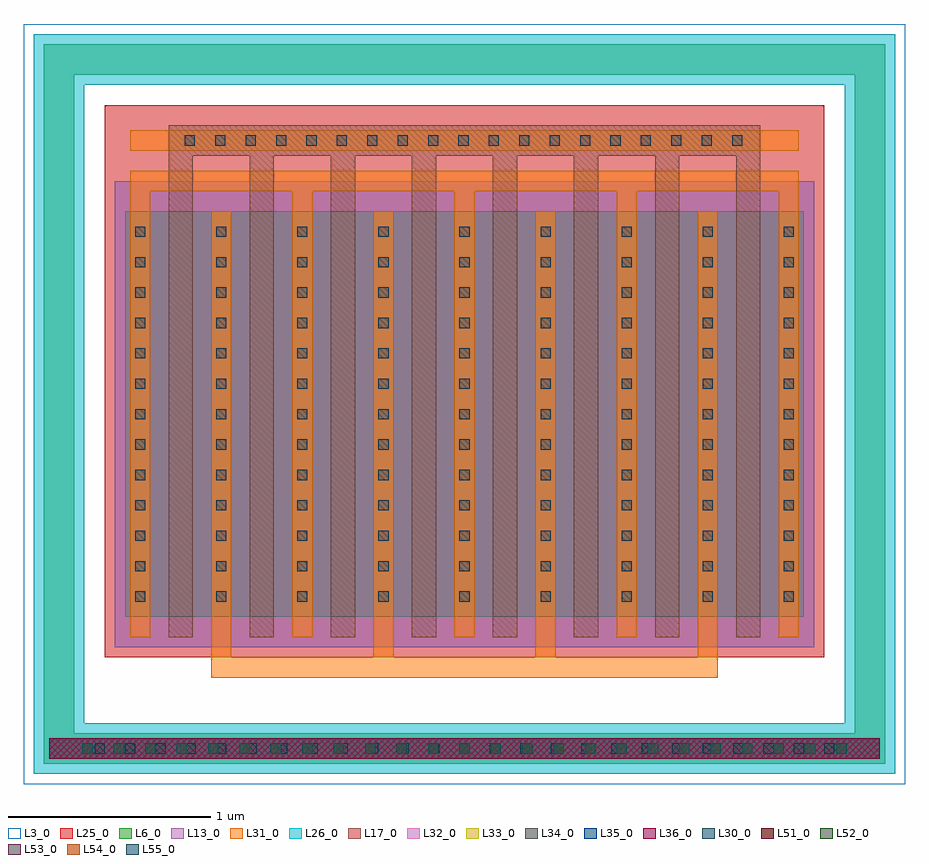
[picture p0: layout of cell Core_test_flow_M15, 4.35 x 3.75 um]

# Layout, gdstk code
import gdstk
lib = gdstk.Library(unit=1e-6, precision=1e-09)
def R(c, l, rs):  # rectangles x0, y0, x1, y1
    for r in rs: c.add(gdstk.rectangle(r[:2], r[2:], *l))
def A(c, l, x, y, w, h, nx, ny, dx, dy):  # array of equal rectangles
    R(c, l, [(x+i*dx, y+j*dy, x+i*dx+w, y+j*dy+h) for i in range(nx) for j in range(ny)])
L3_0 = (3, 0)
L6_0 = (6, 0)
L13_0 = (13, 0)
L17_0 = (17, 0)
L25_0 = (25, 0)
L26_0 = (26, 0)
L30_0 = (30, 0)
L31_0 = (31, 0)
L32_0 = (32, 0)
L33_0 = (33, 0)
L34_0 = (34, 0)
L35_0 = (35, 0)
L36_0 = (36, 0)
L51_0 = (51, 0)
L52_0 = (52, 0)
L53_0 = (53, 0)
L54_0 = (54, 0)
L55_0 = (55, 0)

core_test_flow_m15 = lib.new_cell('Core_test_flow_M15')
R(core_test_flow_m15, L3_0, [(-0.575,-0.775,3.775,2.975), (-0.125,-0.1,3.325,2.2)])
R(core_test_flow_m15, L6_0, [(-0.475,-0.675,-0.325,-0.525), (-0.325,-0.675,3.525,-0.525), (3.525,-0.675,3.675,-0.525), (-0.475,-0.525,-0.325,2.725), (3.525,-0.525,3.675,2.725), (-0.075,0.05,3.275,2.05), (-0.475,2.725,-0.325,2.875), (-0.325,2.725,3.525,2.875), (3.525,2.725,3.675,2.875)])
R(core_test_flow_m15, L13_0, [(-0.125,-0.1,3.325,2.2)])
A(core_test_flow_m15, L17_0, 0.14, -0.05, 0.12, 2.2, 8, 1, 0.4, 0)
A(core_test_flow_m15, L17_0, 0.14, 2.05, 0.12, 0.3, 8, 1, 0.4, 0)
R(core_test_flow_m15, L17_0, [(0.14,2.325,3.06,2.475)])
R(core_test_flow_m15, L25_0, [(-0.175,-0.15,3.375,2.575)])
R(core_test_flow_m15, L26_0, [(-0.525,-0.725,-0.275,-0.475), (-0.325,-0.725,3.525,-0.475), (3.475,-0.725,3.725,-0.475), (-0.525,-0.525,-0.275,2.725), (3.475,-0.525,3.725,2.725), (-0.525,2.675,-0.275,2.925), (-0.325,2.675,3.525,2.925), (3.475,2.675,3.725,2.925)])
A(core_test_flow_m15, L30_0, -0.225, -0.625, 0.05, 0.05, 25, 1, 0.15, 0)
A(core_test_flow_m15, L30_0, -0.025, 0.125, 0.05, 0.05, 9, 13, 0.4, 0.15)
A(core_test_flow_m15, L30_0, 0.22, 2.375, 0.05, 0.05, 19, 1, 0.15, 0)
A(core_test_flow_m15, L31_0, 0.35, -0.15, 0.1, 0.1, 4, 1, 0.8, 0)
A(core_test_flow_m15, L31_0, -0.05, -0.05, 0.1, 2.1, 9, 1, 0.4, 0)
A(core_test_flow_m15, L31_0, -0.05, 0.05, 0.1, 2, 9, 1, 0.4, 0)
A(core_test_flow_m15, L31_0, -0.05, 2.05, 0.1, 0.1, 5, 1, 0.8, 0)
R(core_test_flow_m15, L31_0, [(-0.45,-0.65,-0.35,-0.55), (-0.35,-0.65,-0.325,-0.55), (-0.325,-0.65,3.525,-0.55), (3.525,-0.65,3.55,-0.55), (3.55,-0.65,3.65,-0.55), (0.35,-0.25,2.85,-0.15), (-0.05,2.15,3.25,2.25), (-0.05,2.35,3.25,2.45), (0.14,2.35,3.06,2.45)])
R(core_test_flow_m15, L32_0, [(-0.45,-0.65,-0.35,-0.55), (-0.35,-0.65,-0.325,-0.55), (-0.325,-0.65,3.525,-0.55), (3.525,-0.65,3.55,-0.55), (3.55,-0.65,3.65,-0.55)])
R(core_test_flow_m15, L33_0, [(-0.45,-0.65,-0.35,-0.55), (-0.35,-0.65,-0.325,-0.55), (-0.325,-0.65,3.525,-0.55), (3.525,-0.65,3.55,-0.55), (3.55,-0.65,3.65,-0.55)])
R(core_test_flow_m15, L34_0, [(-0.45,-0.65,-0.35,-0.55), (-0.35,-0.65,-0.325,-0.55), (-0.325,-0.65,3.525,-0.55), (3.525,-0.65,3.55,-0.55), (3.55,-0.65,3.65,-0.55)])
R(core_test_flow_m15, L35_0, [(-0.45,-0.65,-0.35,-0.55), (-0.35,-0.65,-0.325,-0.55), (-0.325,-0.65,3.525,-0.55), (3.525,-0.65,3.55,-0.55), (3.55,-0.65,3.65,-0.55)])
R(core_test_flow_m15, L36_0, [(-0.45,-0.65,-0.35,-0.55), (-0.35,-0.65,-0.325,-0.55), (-0.325,-0.65,3.525,-0.55), (3.525,-0.65,3.55,-0.55), (3.55,-0.65,3.65,-0.55)])
A(core_test_flow_m15, L51_0, -0.285, -0.625, 0.05, 0.05, 25, 1, 0.155, 0)
A(core_test_flow_m15, L52_0, -0.285, -0.625, 0.05, 0.05, 25, 1, 0.155, 0)
A(core_test_flow_m15, L53_0, -0.285, -0.625, 0.05, 0.05, 25, 1, 0.155, 0)
A(core_test_flow_m15, L54_0, -0.285, -0.625, 0.05, 0.05, 25, 1, 0.155, 0)
A(core_test_flow_m15, L55_0, -0.285, -0.625, 0.05, 0.05, 25, 1, 0.155, 0)

lib.write_gds('Core_test_flow_M15.gds')
